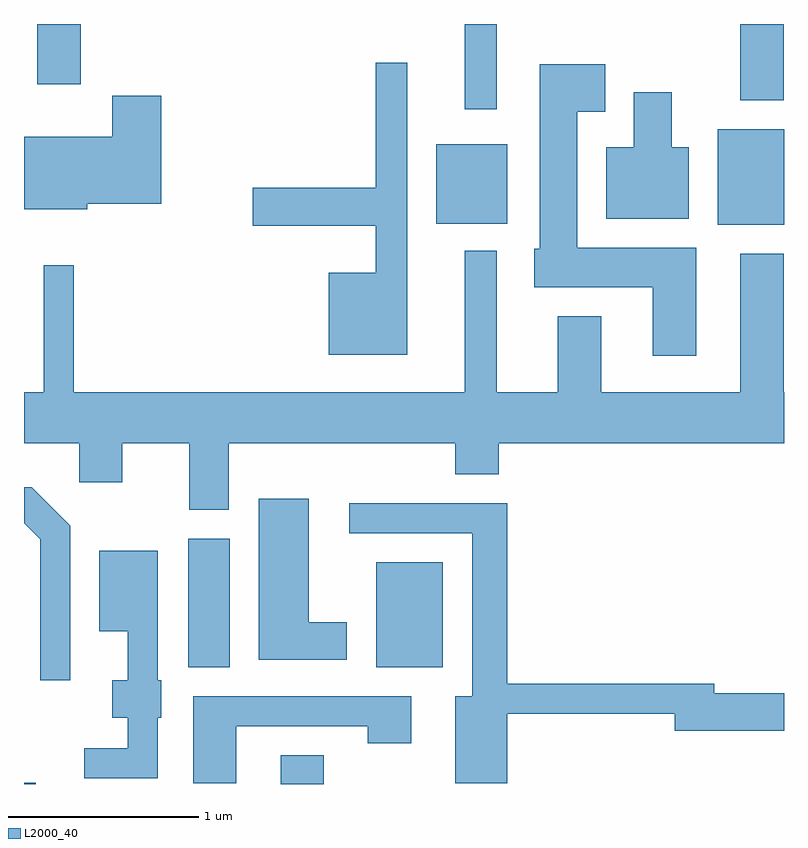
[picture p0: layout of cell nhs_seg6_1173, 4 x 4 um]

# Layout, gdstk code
import gdstk
lib = gdstk.Library(unit=1e-6, precision=1e-09)
def R(c, l, rs):  # rectangles x0, y0, x1, y1
    for r in rs: c.add(gdstk.rectangle(r[:2], r[2:], *l))
def P(c, l, *ps):  # polygons
    for p in ps: c.add(gdstk.Polygon(p, *l))
L2000_40 = (2000, 40)

nhs_seg6_1173 = lib.new_cell('nhs_seg6_1173')
R(nhs_seg6_1173, L2000_40, [(219.611,1628.162,219.674,1628.169), (220.961,1628.162,221.189,1628.314), (220.476,1628.776,220.694,1629.454), (221.466,1628.776,221.814,1629.329), (223.261,1631.106,223.611,1631.609), (221.781,1631.111,222.154,1631.529), (221.931,1631.713,222.099,1632.162), (223.381,1631.761,223.609,1632.162), (219.681,1631.846,219.909,1632.162)])
P(nhs_seg6_1173, L2000_40, [(221.629,1631.958),(221.461,1631.958),(221.461,1631.299),(220.816,1631.299),(220.816,1631.101),(221.461,1631.101),(221.461,1630.854),(221.216,1630.854),(221.216,1630.421),(221.629,1630.421)],
  [(223.149,1630.984),(222.524,1630.984),(222.524,1631.701),(222.669,1631.701),(222.669,1631.949),(222.326,1631.949),(222.326,1630.979),(222.296,1630.979),(222.296,1630.776),(222.921,1630.776),(222.921,1630.416),(223.149,1630.416)],
  [(223.109,1631.514),(223.019,1631.514),(223.019,1631.804),(222.821,1631.804),(222.821,1631.514),(222.676,1631.514),(222.676,1631.136),(223.109,1631.136)],
  [(219.944,1631.216),(220.334,1631.216),(220.334,1631.784),(220.076,1631.784),(220.076,1631.569),(219.611,1631.569),(219.611,1631.186),(219.944,1631.186)],
  [(220.689,1629.956),(221.881,1629.956),(221.881,1629.791),(222.109,1629.791),(222.109,1629.956),(223.611,1629.956),(223.611,1630.224),(223.609,1630.224),(223.609,1630.954),(223.381,1630.954),(223.381,1630.224),(222.649,1630.224),(222.649,1630.624),(222.421,1630.624),(222.421,1630.224),(222.099,1630.224),(222.099,1630.968),(221.931,1630.968),(221.931,1630.224),(219.874,1630.224),(219.874,1630.893),(219.716,1630.893),(219.716,1630.224),(219.611,1630.224),(219.611,1629.956),(219.901,1629.956),(219.901,1629.751),(220.129,1629.751),(220.129,1629.956),(220.481,1629.956),(220.481,1629.606),(220.689,1629.606)],
  [(219.854,1629.522),(219.652,1629.724),(219.611,1629.724),(219.611,1629.534),(219.696,1629.449),(219.696,1628.708),(219.854,1628.708)],
  [(221.309,1629.014),(221.109,1629.014),(221.109,1629.664),(220.846,1629.664),(220.846,1628.816),(221.309,1628.816)],
  [(222.154,1628.531),(223.036,1628.531),(223.036,1628.441),(223.611,1628.441),(223.611,1628.639),(223.244,1628.639),(223.244,1628.689),(222.154,1628.689),(222.154,1629.639),(221.323,1629.639),(221.323,1629.481),(221.971,1629.481),(221.971,1628.624),(221.881,1628.624),(221.881,1628.166),(222.154,1628.166)],
  [(220.314,1628.511),(220.334,1628.511),(220.334,1628.709),(220.314,1628.709),(220.314,1629.389),(220.006,1629.389),(220.006,1628.966),(220.156,1628.966),(220.156,1628.709),(220.076,1628.709),(220.076,1628.511),(220.156,1628.511),(220.156,1628.349),(219.928,1628.349),(219.928,1628.191),(220.314,1628.191)],
  [(220.729,1628.466),(221.421,1628.466),(221.421,1628.376),(221.649,1628.376),(221.649,1628.624),(220.501,1628.624),(220.501,1628.166),(220.729,1628.166)])

lib.write_gds('nhs_seg6_1173.gds')
